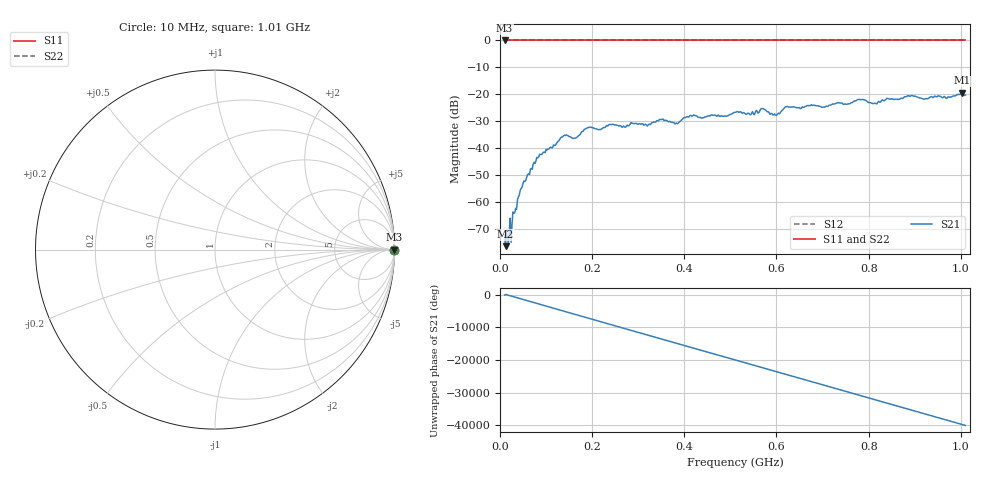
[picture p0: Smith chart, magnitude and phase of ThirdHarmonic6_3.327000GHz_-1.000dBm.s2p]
! 8/17/2025 10:26:31 AM
! C:\ANRITSUVNA\TEMP\TEMP.S2P
! CHANNEL.1
! TR.MEASUREMENT
! RAW.DATA
! RF.CORRECTION.OFF
! AVERAGING.OFF
! IF.BANDWIDTH: 5KHZ
! SWEEPTYPE:  FREQ.SWEEP(Linear)
! Reference Plane Port Info
! PORT:  PORT1  PORT2
! DISTANCE:  0  m  0  m
! TIME:  0  s  0  s
! PHASE.OFFSET:  0  deg.  0  deg.
! LOSS:  0  dB  0  dB
! REF.LOSS:  0  dB  0  dB
! REF.FREQ:  0  Hz  0  Hz
! Power Info
! POWER:  -20  dBm  -20  dBm
! EFF.POWER:  -20  dBm  -20  dBm
! SOURCE.ATTEN:  0  dB  0  dB
! TEST.ATTEN:  0  dB  0  dB
# GHZ S RI R 50.0
! FREQ.GHZ  S11RE  S11IM  S21RE  S21IM  S12RE  S12IM  S22RE  S22IM
!; PortSelection: Port_12
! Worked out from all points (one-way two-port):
!   501 points, 10 MHz to 1.01 GHz, reference 50 ohm
!   highest |S21| = -19.42 dB at 1.002 GHz (marker M1); lowest = -76.3 dB at 12 MHz (marker M2)
!   lowest |S11| = 0.0 dB at 10 MHz (marker M3)
!   |S11| at or under -10 dB: nowhere
!   |S22| runs from 0.0 to 0.0 dB; largest |S21 - S12| = 1.1
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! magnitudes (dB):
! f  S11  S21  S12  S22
! 10 MHz  0.0  -72.0  0.0  0.0
! 12 MHz  0.0  -76.3  0.0  0.0
! 22 MHz  0.0  -65.9  0.0  0.0
! 30 MHz  0.0  -64.1  0.0  0.0
! 48 MHz  0.0  -54.3  0.0  0.0
! 84 MHz  0.0  -43.2  0.0  0.0
! 136 MHz  0.0  -35.8  0.0  0.0
! 162 MHz  0.0  -36.2  0.0  0.0
! 178 MHz  0.0  -33.8  0.0  0.0
! 344 MHz  0.0  -29.7  0.0  0.0
! 384 MHz  0.0  -30.8  0.0  0.0
! 416 MHz  0.0  -28.0  0.0  0.0
! 510 MHz  0.0  -26.7  0.0  0.0
! 570 MHz  0.0  -25.2  0.0  0.0
! 596 MHz  0.0  -27.3  0.0  0.0
! 622 MHz  0.0  -24.6  0.0  0.0
! 678 MHz  0.0  -24.1  0.0  0.0
! 780 MHz  0.0  -21.9  0.0  0.0
! 814 MHz  0.0  -23.3  0.0  0.0
! 844 MHz  0.0  -21.7  0.0  0.0
! 1.002 GHz  0.0  -19.4  0.0  0.0
! 1.01 GHz  0.0  -20.2  0.0  0.0
